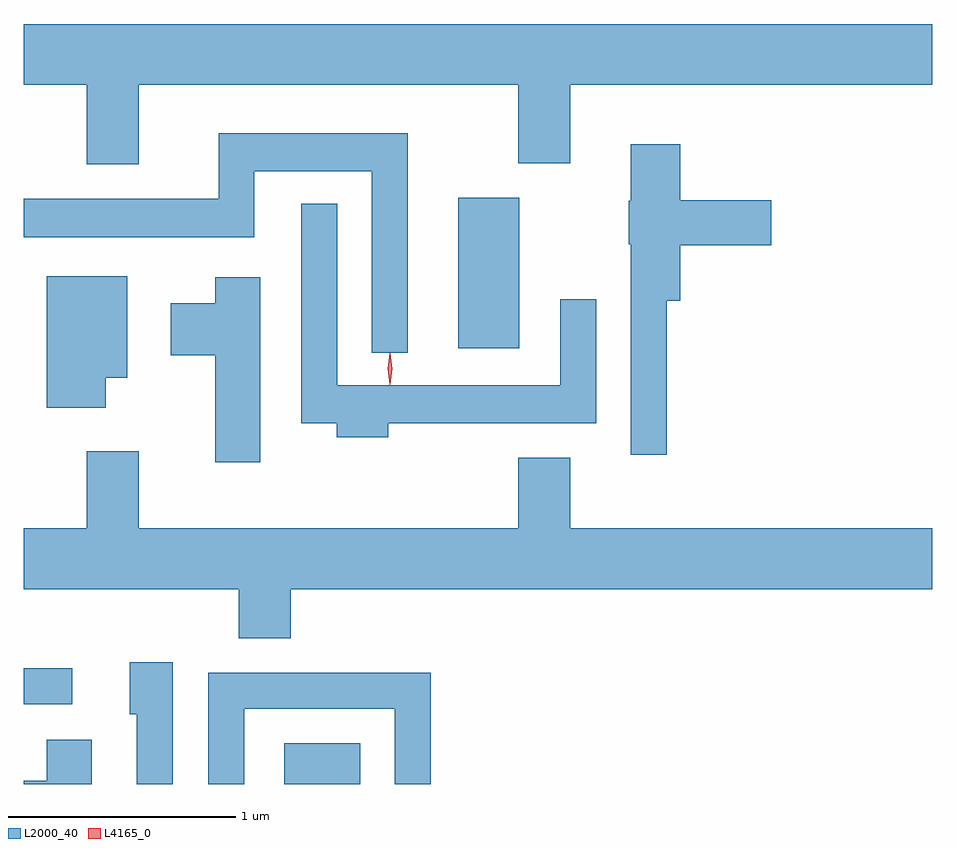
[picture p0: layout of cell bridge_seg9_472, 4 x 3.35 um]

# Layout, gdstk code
import gdstk
lib = gdstk.Library(unit=1e-6, precision=1e-09)
def R(c, l, rs):  # rectangles x0, y0, x1, y1
    for r in rs: c.add(gdstk.rectangle(r[:2], r[2:], *l))
def P(c, l, *ps):  # polygons
    for p in ps: c.add(gdstk.Polygon(p, *l))
L2000_40 = (2000, 40)
L4165_0 = (4165, 0)

bridge_seg9_472 = lib.new_cell('bridge_seg9_472')
R(bridge_seg9_472, L2000_40, [(567.101,1968.759,567.434,1968.939), (565.953,1969.111,566.168,1969.269), (567.866,1970.676,568.134,1971.339)])
P(bridge_seg9_472, L2000_40, [(566.459,1971.836),(568.131,1971.836),(568.131,1971.491),(568.359,1971.491),(568.359,1971.836),(569.953,1971.836),(569.953,1972.104),(565.953,1972.104),(565.953,1971.836),(566.231,1971.836),(566.231,1971.486),(566.459,1971.486)],
  [(567.644,1971.624),(566.811,1971.624),(566.811,1971.334),(565.953,1971.334),(565.953,1971.166),(566.969,1971.166),(566.969,1971.456),(567.486,1971.456),(567.486,1970.658),(567.644,1970.658)],
  [(568.784,1970.886),(568.844,1970.886),(568.844,1971.131),(569.244,1971.131),(569.244,1971.329),(568.844,1971.329),(568.844,1971.574),(568.626,1971.574),(568.626,1971.325),(568.616,1971.325),(568.616,1971.135),(568.626,1971.135),(568.626,1970.208),(568.784,1970.208)],
  [(567.559,1970.346),(568.474,1970.346),(568.474,1970.893),(568.316,1970.893),(568.316,1970.514),(567.334,1970.514),(567.334,1971.313),(567.176,1971.313),(567.176,1970.346),(567.331,1970.346),(567.331,1970.286),(567.559,1970.286)],
  [(566.314,1970.546),(566.409,1970.546),(566.409,1970.994),(566.056,1970.994),(566.056,1970.416),(566.314,1970.416)],
  [(566.994,1970.989),(566.796,1970.989),(566.796,1970.874),(566.601,1970.874),(566.601,1970.646),(566.796,1970.646),(566.796,1970.176),(566.994,1970.176)],
  [(567.129,1969.616),(569.953,1969.616),(569.953,1969.884),(568.359,1969.884),(568.359,1970.194),(568.131,1970.194),(568.131,1969.884),(566.459,1969.884),(566.459,1970.224),(566.231,1970.224),(566.231,1969.884),(565.953,1969.884),(565.953,1969.616),(566.901,1969.616),(566.901,1969.401),(567.129,1969.401)],
  [(566.609,1969.294),(566.421,1969.294),(566.421,1969.066),(566.451,1969.066),(566.451,1968.759),(566.609,1968.759)],
  [(566.924,1969.091),(567.586,1969.091),(567.586,1968.759),(567.744,1968.759),(567.744,1969.249),(566.766,1969.249),(566.766,1968.759),(566.924,1968.759)],
  [(566.254,1968.954),(566.056,1968.954),(566.056,1968.774),(565.953,1968.774),(565.953,1968.759),(566.254,1968.759)])
P(bridge_seg9_472, L4165_0, [(567.565,1970.517),(567.565,1970.518),(567.555,1970.587),(567.565,1970.656),(567.565,1970.656),(567.566,1970.656),(567.575,1970.587),(567.566,1970.518)],
  [(567.566,1970.519),(567.565,1970.52),(567.556,1970.586),(567.565,1970.652),(567.566,1970.653),(567.566,1970.652),(567.576,1970.586),(567.566,1970.52)])

lib.write_gds('bridge_seg9_472.gds')
